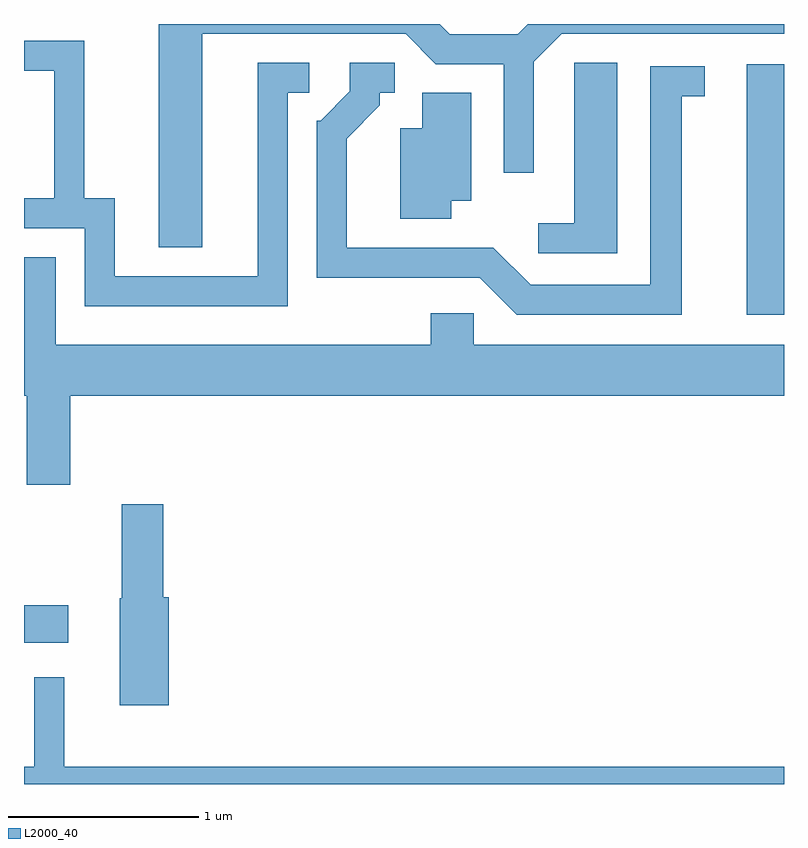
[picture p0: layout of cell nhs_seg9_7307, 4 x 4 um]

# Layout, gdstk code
import gdstk
lib = gdstk.Library(unit=1e-6, precision=1e-09)
def R(c, l, rs):  # rectangles x0, y0, x1, y1
    for r in rs: c.add(gdstk.rectangle(r[:2], r[2:], *l))
def P(c, l, *ps):  # polygons
    for p in ps: c.add(gdstk.Polygon(p, *l))
L2000_40 = (2000, 40)

nhs_seg9_7307 = lib.new_cell('nhs_seg9_7307')
R(nhs_seg9_7307, L2000_40, [(401.611,1997.176,401.844,1997.374), (405.416,1998.901,405.611,2000.219)])
P(nhs_seg9_7307, L2000_40, [(402.549,2000.381),(403.619,2000.381),(403.779,2000.221),(404.136,2000.221),(404.136,1999.648),(404.294,1999.648),(404.294,2000.234),(404.442,2000.381),(405.611,2000.381),(405.611,2000.432),(404.262,2000.432),(404.209,2000.379),(403.852,2000.379),(403.799,2000.432),(402.321,2000.432),(402.321,1999.256),(402.549,1999.256)],
  [(402.999,2000.071),(403.113,2000.071),(403.113,2000.229),(402.841,2000.229),(402.841,1999.104),(402.089,1999.104),(402.089,1999.514),(401.929,1999.514),(401.929,2000.344),(401.611,2000.344),(401.611,2000.186),(401.771,2000.186),(401.771,1999.514),(401.611,1999.514),(401.611,1999.356),(401.931,1999.356),(401.931,1998.946),(402.999,1998.946)],
  [(405.074,2000.051),(405.193,2000.051),(405.193,2000.209),(404.906,2000.209),(404.906,1999.059),(404.277,1999.059),(404.082,1999.254),(403.309,1999.254),(403.309,1999.829),(403.484,2000.004),(403.484,2000.071),(403.563,2000.071),(403.563,2000.229),(403.326,2000.229),(403.326,2000.077),(403.174,1999.924),(403.151,1999.924),(403.151,1999.096),(404.009,1999.096),(404.204,1998.901),(405.074,1998.901)],
  [(404.734,2000.229),(404.506,2000.229),(404.506,1999.384),(404.318,1999.384),(404.318,1999.226),(404.734,1999.226)],
  [(403.859,1999.501),(403.964,1999.501),(403.964,2000.069),(403.706,2000.069),(403.706,1999.884),(403.591,1999.884),(403.591,1999.406),(403.859,1999.406)],
  [(401.854,1998.476),(405.611,1998.476),(405.611,1998.744),(403.979,1998.744),(403.979,1998.909),(403.751,1998.909),(403.751,1998.744),(401.779,1998.744),(401.779,1999.204),(401.611,1999.204),(401.611,1998.476),(401.626,1998.476),(401.626,1998.006),(401.854,1998.006)],
  [(402.374,1997.414),(402.344,1997.414),(402.344,1997.904),(402.126,1997.904),(402.126,1997.41),(402.116,1997.41),(402.116,1996.846),(402.374,1996.846)],
  [(405.611,1996.524),(401.824,1996.524),(401.824,1996.993),(401.666,1996.993),(401.666,1996.524),(401.611,1996.524),(401.611,1996.432),(405.611,1996.432)])

lib.write_gds('nhs_seg9_7307.gds')
